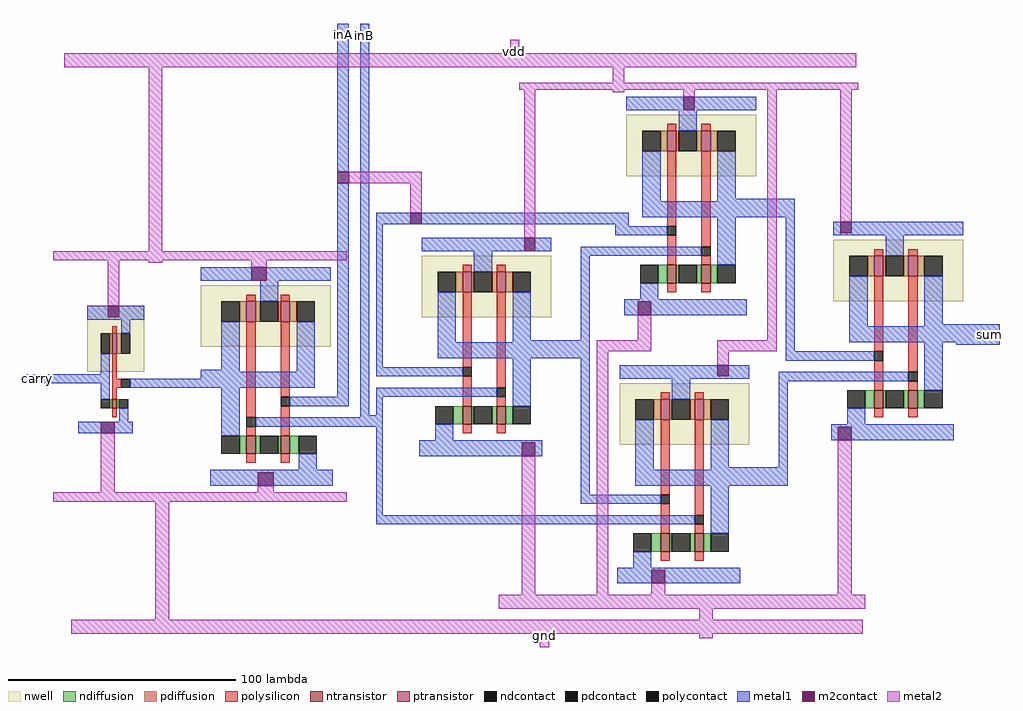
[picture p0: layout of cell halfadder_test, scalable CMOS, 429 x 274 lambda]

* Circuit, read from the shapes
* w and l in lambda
.subckt halfadder_test carry gnd inA inB sum vdd
M1 gnd n1 carry VSUBS nfet w=4 l=2
M2 n2 inB n1 VSUBS nfet w=8 l=4
M3 gnd inA n2 VSUBS nfet w=8 l=4
M4 n3 inA gnd VSUBS nfet w=8 l=4
M5 n4 inB n3 VSUBS nfet w=8 l=4
M6 n5 n4 gnd VSUBS nfet w=8 l=4
M7 n6 inA gnd VSUBS nfet w=8 l=4
M8 n7 inB n5 VSUBS nfet w=8 l=4
M9 n8 n4 n6 VSUBS nfet w=8 l=4
M10 n9 n8 gnd VSUBS nfet w=8 l=4
M11 sum n7 n9 VSUBS nfet w=8 l=4
M12 vdd n1 carry n10 pfet w=9 l=2
M13 vdd inB n1 n11 pfet w=9 l=4
M14 n1 inA vdd n11 pfet w=9 l=4
M15 vdd inA n4 n12 pfet w=9 l=4
M16 n4 inB vdd n12 pfet w=9 l=4
M17 vdd n4 n7 n13 pfet w=9 l=4
M18 vdd inA n8 n14 pfet w=9 l=4
M19 n7 inB vdd n13 pfet w=9 l=4
M20 n8 n4 vdd n14 pfet w=9 l=4
M21 vdd n8 sum n15 pfet w=9 l=4
M22 sum n7 vdd n15 pfet w=9 l=4
.ends

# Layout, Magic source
magic
tech scmos
<< metal1 >>
rect 148 276 153 285
rect 158 275 162 285
rect 430 144 439 153
rect 10 127 22 131
<< metal2 >>
rect 224 268 228 278
rect 237 11 241 21
use halfadder  halfadder_0
transform 1 0 193 0 1 20
box -174 -5 241 260
<< labels >>
rlabel metal1 148 276 153 285 5 inA
rlabel metal1 158 275 162 285 5 inB
rlabel metal2 224 268 228 278 1 vdd
rlabel metal2 237 11 241 21 1 gnd
rlabel metal1 10 127 22 131 1 carry
rlabel metal1 430 144 439 153 7 sum
<< end >>

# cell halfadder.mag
magic
tech scmos
<< metal1 >>
rect -45 200 -40 260
rect -45 97 -40 195
rect -35 93 -31 260
rect -35 92 -25 93
rect -41 88 -25 92
<< m2contact >>
rect -45 195 -40 200
rect -13 177 -8 182
<< metal2 >>
rect -165 246 183 252
rect -128 160 -122 246
rect 76 235 81 246
rect -40 195 -8 200
rect -13 182 -8 195
rect -125 3 -119 59
rect 114 3 120 14
rect -162 -3 186 3
rect 114 -5 120 -3
use and  and_0
transform -1 0 -44 0 1 47
box -3 8 130 118
use xor  xor_0
transform 1 0 -6 0 1 60
box -22 -52 247 179
<< end >>

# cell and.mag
magic
tech scmos
<< metal1 >>
rect 59 58 86 62
rect 120 60 130 64
rect -3 50 7 54
rect -3 41 7 45
<< m2contact >>
rect 32 105 39 111
rect 97 89 102 94
rect 99 38 105 43
rect 29 15 36 21
<< metal2 >>
rect -3 114 126 118
rect 32 111 39 114
rect 97 94 102 114
rect 29 12 36 15
rect 99 12 105 38
rect -3 8 126 12
use nand  nand_0
transform 1 0 31 0 1 79
box -28 -64 30 32
use inverter  inverter_0
transform 1 0 86 0 1 65
box -4 -27 36 29
<< end >>

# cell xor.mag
magic
tech scmos
<< metal1 >>
rect -22 117 89 122
rect 144 120 162 128
rect -22 54 -19 117
rect 83 112 89 117
rect 68 103 90 107
rect 68 66 72 103
rect 51 58 72 66
rect -22 50 15 54
rect -22 41 -1 45
rect -22 -11 -19 41
rect 68 -2 72 58
rect 158 61 162 120
rect 233 64 247 73
rect 158 57 180 61
rect 155 48 178 52
rect 155 10 159 48
rect 140 2 159 10
rect 68 -6 84 -2
rect -22 -15 85 -11
<< m2contact >>
rect 113 167 118 173
rect 43 105 48 111
rect 93 77 99 83
rect 42 15 48 21
rect 182 113 187 118
rect 128 50 133 55
rect 181 22 187 28
rect 99 -41 105 -35
<< metal2 >>
rect 41 176 190 179
rect 43 111 48 176
rect 113 173 118 176
rect 93 66 99 77
rect 150 66 154 176
rect 182 118 187 176
rect 75 61 99 66
rect 128 61 154 66
rect 42 -46 48 15
rect 75 -46 80 61
rect 128 55 133 61
rect 99 -46 105 -41
rect 181 -46 187 22
rect 32 -52 193 -46
use nand  nand_0
transform 1 0 25 0 1 79
box -28 -64 30 32
use nand  nand_1
transform 1 0 115 0 1 141
box -28 -64 30 32
use nand  nand_2
transform 1 0 112 0 1 23
box -28 -64 30 32
use nand  nand_3
transform 1 0 206 0 1 86
box -28 -64 30 32
<< end >>

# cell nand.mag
magic
tech scmos
<< nwell >>
rect -27 -3 30 24
<< ntransistor >>
rect -9 -50 -5 -42
rect 6 -50 10 -42
<< ptransistor >>
rect -9 8 -5 17
rect 6 8 10 17
<< ndiffusion >>
rect -13 -50 -9 -42
rect -5 -50 -4 -42
rect 4 -50 6 -42
rect 10 -50 13 -42
<< pdiffusion >>
rect -12 8 -9 17
rect -5 8 -4 17
rect 4 8 6 17
rect 10 8 13 17
<< ndcontact >>
rect -21 -50 -13 -42
rect -4 -50 4 -42
rect 13 -50 21 -42
<< pdcontact >>
rect -20 8 -12 17
rect -4 8 4 17
rect 13 8 21 17
<< polysilicon >>
rect -9 17 -5 20
rect 6 17 10 20
rect -9 -25 -5 8
rect -9 -42 -5 -29
rect 6 -34 10 8
rect 6 -42 10 -38
rect -9 -54 -5 -50
rect 6 -54 10 -50
<< polycontact >>
rect -9 -29 -5 -25
rect 6 -38 10 -34
<< metal1 >>
rect -27 26 30 32
rect -4 17 4 26
rect -20 -14 -12 8
rect 13 -13 21 8
rect 13 -14 30 -13
rect -20 -21 30 -14
rect -28 -29 -9 -25
rect -28 -38 6 -34
rect 13 -42 21 -21
rect -21 -57 -13 -50
rect -28 -64 26 -57
<< end >>

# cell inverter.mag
magic
tech scmos
<< nwell >>
rect 0 0 25 29
<< ntransistor >>
rect 12 -16 14 -12
<< ptransistor >>
rect 12 8 14 17
<< ndiffusion >>
rect 11 -16 12 -12
rect 14 -16 15 -12
<< pdiffusion >>
rect 10 8 12 17
rect 14 8 15 17
<< ndcontact >>
rect 7 -16 11 -12
rect 15 -16 19 -12
<< pdcontact >>
rect 6 8 10 17
rect 15 8 19 17
<< polysilicon >>
rect 12 17 14 20
rect 12 -3 14 8
rect 10 -7 14 -3
rect 12 -12 14 -7
rect 12 -20 14 -16
<< polycontact >>
rect 6 -7 10 -3
<< metal1 >>
rect 0 23 25 29
rect 6 17 10 23
rect 15 -1 19 8
rect -4 -7 6 -3
rect 15 -5 36 -1
rect 15 -12 19 -5
rect 7 -22 11 -16
rect 5 -27 29 -22
<< end >>
